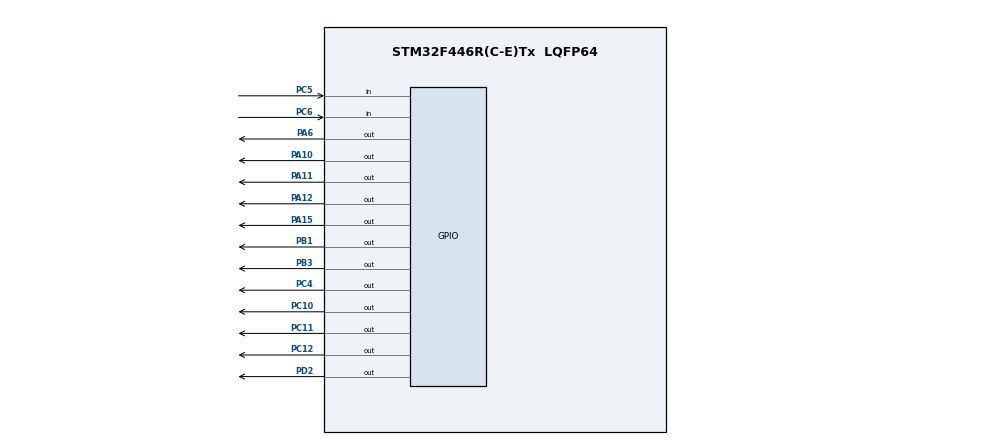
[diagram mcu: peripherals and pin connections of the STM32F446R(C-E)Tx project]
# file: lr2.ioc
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Mcu.Family=STM32F4
RCC.CortexFreq_Value=16000000
PC11.Signal=GPIO_Output
PC10.Signal=GPIO_Output
PC12.Signal=GPIO_Output
PC4.Signal=GPIO_Output
PC6.Signal=GPIO_Input
ProjectManager.StackSize=0x400
PA12.Signal=GPIO_Output
ProjectManager.TargetToolchain=STM32CubeIDE
RCC.USBFreq_Value=96000000
board=custom
RCC.VCOOutputFreq_Value=192000000
Mcu.Name=STM32F446R(C-E)Tx
PB3.Signal=GPIO_Output
Mcu.Package=LQFP64
PB1.Signal=GPIO_Output
PA6.Signal=GPIO_Output
PA11.Signal=GPIO_Output
PA10.Signal=GPIO_Output
PA15.Signal=GPIO_Output
ProjectManager.HeapSize=0x200
NVIC.PriorityGroup=NVIC_PRIORITYGROUP_4
PC5.Signal=GPIO_Input
PD2.Signal=GPIO_Output

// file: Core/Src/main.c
/* USER CODE BEGIN Header */
/**
  ******************************************************************************
  * @file           : main.c
  * @brief          : Main program body
  ******************************************************************************
  * @attention
  *
  * <h2><center>&copy; Copyright (c) 2023 STMicroelectronics.
  * All rights reserved.</center></h2>
  *
  * This software component is licensed by ST under BSD 3-Clause license,
  * the "License"; You may not use this file except in compliance with the
  * License. You may obtain a copy of the License at:
  *                        opensource.org/licenses/BSD-3-Clause
  *
  ******************************************************************************
  */
/* USER CODE END Header */
#include "main.h"

/* USER CODE BEGIN Includes */
//#include<array>
//#include <pair>
#include <math.h>
#include <stdlib.h>
/* USER CODE END Includes */

void SystemClock_Config(void);
static void MX_GPIO_Init(void);

/* USER CODE BEGIN 0 */

static int counter = -1;

const GPIO_TypeDef* segments_port[9] = {0, GPIOA, GPIOA, GPIOA, GPIOC, GPIOC, GPIOD, GPIOC, GPIOA };
const uint16_t segments_pins[9] = {0, GPIO_PIN_6, GPIO_PIN_12, GPIO_PIN_11, GPIO_PIN_10, GPIO_PIN_11, GPIO_PIN_2, GPIO_PIN_12, GPIO_PIN_15};

const GPIO_TypeDef* section_port[4] = {GPIOC, GPIOA, GPIOB, GPIOB};
const uint16_t section_pins[4] = {GPIO_PIN_4, GPIO_PIN_10, GPIO_PIN_3, GPIO_PIN_1};

const int numbers[10][8] = {
		{1, 2, 3, 4 ,5, 6, -1},
		{2, 3, -1},
		{1, 2, 7, 5, 4, -1},
		{1, 2, 3, 4, 7, -1},
		{6, 7, 2, 3, -1},
		{1, 6, 7, 3, 4, -1},
		{1, 6, 5, 4, 3, 7, -1},
		{1, 2, 3, -1},
		{1,2,3,4,5,6,7,-1},
		{1,2,3,4,6,7,-1}
};

void turn_off_LED(){
	for (int i = 0; i<4; i++){
			HAL_GPIO_WritePin(section_port[i], section_pins[i], GPIO_PIN_SET);
		}

	for (int i = 1; i<10; i++){
		HAL_GPIO_WritePin(segments_port[i], segments_pins[i], GPIO_PIN_SET);
	}
}

int set_digit(int number){
	turn_off_LED();
	if (number < -999) number = -999;
	if (number > 9999) number = 9999;

	int discharge = 0;
	if (number != 0){
		discharge = log10(abs(number));
	}

	for (int section = 0; section<discharge+1; section++){
		turn_off_LED();
		HAL_GPIO_WritePin(section_port[section], section_pins[section], GPIO_PIN_RESET);

		int num = abs(number % (int)(pow(10,section+1))/ (int)pow(10,section));//
		int i = 0;

		while (numbers[num][i] != -1){
			HAL_GPIO_WritePin(segments_port[numbers[num][i]], segments_pins[numbers[num][i]], GPIO_PIN_RESET);
			i++;
		}
		HAL_Delay(5);

	}
	if (number < 0) {
		turn_off_LED();
		HAL_GPIO_WritePin(section_port[discharge+1], section_pins[discharge+1], GPIO_PIN_RESET);
		HAL_GPIO_WritePin(segments_port[7], segments_pins[7], GPIO_PIN_RESET);
		HAL_Delay(5);
	}

	return 1;
}

int check_red_button() {
	static GPIO_PinState previous_red_status = GPIO_PIN_SET;
	GPIO_PinState current_red_status =  HAL_GPIO_ReadPin(GPIOC, GPIO_PIN_5);
	if (previous_red_status == GPIO_PIN_SET && current_red_status == GPIO_PIN_RESET) {
		previous_red_status = current_red_status;
		return 1;
	}
	previous_red_status = current_red_status;
	return 0;
}

int check_blue_button() {
	static GPIO_PinState previous_blue_status = GPIO_PIN_SET;
	GPIO_PinState current_blue_status =  HAL_GPIO_ReadPin(GPIOC, GPIO_PIN_6);
	if (previous_blue_status == GPIO_PIN_SET && current_blue_status == GPIO_PIN_RESET) {
		previous_blue_status = current_blue_status;
		return 1;
	}
	previous_blue_status = current_blue_status;
	return 0;
}

/* USER CODE END 0 */

int main(void)
{

  /* MCU Configuration--------------------------------------------------------*/

  /* Reset of all peripherals, Initializes the Flash interface and the Systick. */
  HAL_Init();

  /* Configure the system clock */
  SystemClock_Config();

  /* Initialize all configured peripherals */
  MX_GPIO_Init();
  /* USER CODE BEGIN 2 */
	//HAL_GPIO_WritePin(GPIOC, GPIO_PIN_4, GPIO_PIN_RESET);
  turn_off_LED();
  /* USER CODE END 2 */

  /* Infinite loop */
  /* USER CODE BEGIN WHILE */
  while (1)
  {
//  HAL_GPIO_TogglePin(GPIOC, GPIO_PIN_4);
	    //HAL_GPIO_TogglePin(GPIOC, GPIO_PIN_12);
	  if (check_red_button()) counter++;
	  if (check_blue_button()) counter--;

	  set_digit(counter);
	  //HAL_GPIO_TogglePin(GPIOC, GPIO_PIN_4);
	  //HAL_GPIO_WritePin(GPIOC, GPIO_PIN_12, GPIO_PIN_SET);
	  //turn_off_LED();

    /* USER CODE END WHILE */

  }
}

void SystemClock_Config(void)
{
  RCC_OscInitTypeDef RCC_OscInitStruct = {0};
  RCC_ClkInitTypeDef RCC_ClkInitStruct = {0};

  /** Configure the main internal regulator output voltage
  */
  __HAL_RCC_PWR_CLK_ENABLE();
  __HAL_PWR_VOLTAGESCALING_CONFIG(PWR_REGULATOR_VOLTAGE_SCALE3);
  /** Initializes the RCC Oscillators according to the specified parameters
  * in the RCC_OscInitTypeDef structure.
  */
  RCC_OscInitStruct.OscillatorType = RCC_OSCILLATORTYPE_HSI;
  RCC_OscInitStruct.HSIState = RCC_HSI_ON;
  RCC_OscInitStruct.HSICalibrationValue = RCC_HSICALIBRATION_DEFAULT;
  RCC_OscInitStruct.PLL.PLLState = RCC_PLL_NONE;
  if (HAL_RCC_OscConfig(&RCC_OscInitStruct) != HAL_OK)
  {
    Error_Handler();
  }
  /** Initializes the CPU, AHB and APB buses clocks
  */
  RCC_ClkInitStruct.ClockType = RCC_CLOCKTYPE_HCLK|RCC_CLOCKTYPE_SYSCLK
                              |RCC_CLOCKTYPE_PCLK1|RCC_CLOCKTYPE_PCLK2;
  RCC_ClkInitStruct.SYSCLKSource = RCC_SYSCLKSOURCE_HSI;
  RCC_ClkInitStruct.AHBCLKDivider = RCC_SYSCLK_DIV1;
  RCC_ClkInitStruct.APB1CLKDivider = RCC_HCLK_DIV1;
  RCC_ClkInitStruct.APB2CLKDivider = RCC_HCLK_DIV1;

  if (HAL_RCC_ClockConfig(&RCC_ClkInitStruct, FLASH_LATENCY_0) != HAL_OK)
  {
    Error_Handler();
  }
}

static void MX_GPIO_Init(void)
{
  GPIO_InitTypeDef GPIO_InitStruct = {0};

  /* GPIO Ports Clock Enable */
  __HAL_RCC_GPIOA_CLK_ENABLE();
  __HAL_RCC_GPIOC_CLK_ENABLE();
  __HAL_RCC_GPIOB_CLK_ENABLE();
  __HAL_RCC_GPIOD_CLK_ENABLE();

  /*Configure GPIO pin Output Level */
  HAL_GPIO_WritePin(GPIOA, GPIO_PIN_6|GPIO_PIN_10|GPIO_PIN_11|GPIO_PIN_12
                          |GPIO_PIN_15, GPIO_PIN_RESET);

  /*Configure GPIO pin Output Level */
  HAL_GPIO_WritePin(GPIOC, GPIO_PIN_4|GPIO_PIN_10|GPIO_PIN_11|GPIO_PIN_12, GPIO_PIN_RESET);

  /*Configure GPIO pin Output Level */
  HAL_GPIO_WritePin(GPIOB, GPIO_PIN_1|GPIO_PIN_3, GPIO_PIN_RESET);

  /*Configure GPIO pin Output Level */
  HAL_GPIO_WritePin(GPIOD, GPIO_PIN_2, GPIO_PIN_RESET);

  /*Configure GPIO pins : PA6 PA10 PA11 PA12
                           PA15 */
  GPIO_InitStruct.Pin = GPIO_PIN_6|GPIO_PIN_10|GPIO_PIN_11|GPIO_PIN_12
                          |GPIO_PIN_15;
  GPIO_InitStruct.Mode = GPIO_MODE_OUTPUT_PP;
  GPIO_InitStruct.Pull = GPIO_NOPULL;
  GPIO_InitStruct.Speed = GPIO_SPEED_FREQ_LOW;
  HAL_GPIO_Init(GPIOA, &GPIO_InitStruct);

  /*Configure GPIO pins : PC4 PC10 PC11 PC12 */
  GPIO_InitStruct.Pin = GPIO_PIN_4|GPIO_PIN_10|GPIO_PIN_11|GPIO_PIN_12;
  GPIO_InitStruct.Mode = GPIO_MODE_OUTPUT_PP;
  GPIO_InitStruct.Pull = GPIO_NOPULL;
  GPIO_InitStruct.Speed = GPIO_SPEED_FREQ_LOW;
  HAL_GPIO_Init(GPIOC, &GPIO_InitStruct);

  /*Configure GPIO pins : PC5 PC6 */
  GPIO_InitStruct.Pin = GPIO_PIN_5|GPIO_PIN_6;
  GPIO_InitStruct.Mode = GPIO_MODE_INPUT;
  GPIO_InitStruct.Pull = GPIO_NOPULL;
  HAL_GPIO_Init(GPIOC, &GPIO_InitStruct);

  /*Configure GPIO pins : PB1 PB3 */
  GPIO_InitStruct.Pin = GPIO_PIN_1|GPIO_PIN_3;
  GPIO_InitStruct.Mode = GPIO_MODE_OUTPUT_PP;
  GPIO_InitStruct.Pull = GPIO_NOPULL;
  GPIO_InitStruct.Speed = GPIO_SPEED_FREQ_LOW;
  HAL_GPIO_Init(GPIOB, &GPIO_InitStruct);

  /*Configure GPIO pin : PD2 */
  GPIO_InitStruct.Pin = GPIO_PIN_2;
  GPIO_InitStruct.Mode = GPIO_MODE_OUTPUT_PP;
  GPIO_InitStruct.Pull = GPIO_NOPULL;
  GPIO_InitStruct.Speed = GPIO_SPEED_FREQ_LOW;
  HAL_GPIO_Init(GPIOD, &GPIO_InitStruct);

}

void Error_Handler(void)
{
  __disable_irq();
  while (1)
  {
  }
}

/************************ (C) COPYRIGHT STMicroelectronics *****END OF FILE****/
